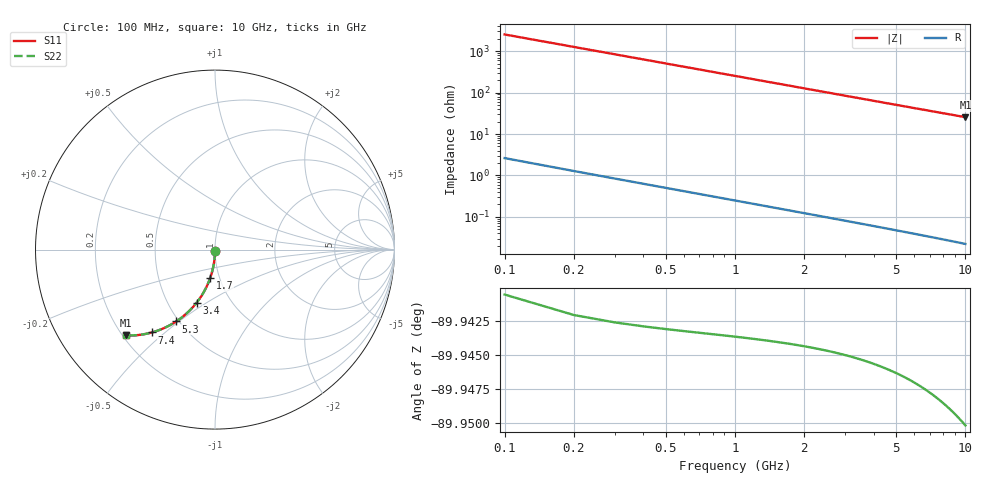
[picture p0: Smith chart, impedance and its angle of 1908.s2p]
# Hz S RI R 50.00
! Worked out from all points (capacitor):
!   100 points, 100 MHz to 10 GHz, reference 50 ohm
!   read as one part in shunt: C = 629 fF near 100 MHz
!   lowest |Z| = 25.6 ohm at 10 GHz (marker M1)
!   S11 on the Smith chart (normalised r, x): 100 MHz: 1.00, -0.02; 1.7 GHz: 0.90, -0.30; 3.4 GHz: 0.69, -0.45; 5.3 GHz: 0.48, -0.49; 7.4 GHz: 0.33, -0.45; 10 GHz: 0.21, -0.39
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1e8  2.5e-05 -0.00967  0.9998 -0.0101  0.9998 -0.0101  2.5e-05 -0.00967
2e8  -0.000277 -0.0193  0.9995 -0.0202  0.9995 -0.0202  -0.000277 -0.0193
3e8  -0.000773 -0.029  0.999 -0.0302  0.999 -0.0302  -0.000773 -0.029
4e8  -0.00146 -0.0386  0.9983 -0.0403  0.9983 -0.0403  -0.00146 -0.0386
5e8  -0.00235 -0.0483  0.9974 -0.0503  0.9974 -0.0503  -0.00235 -0.0483
6e8  -0.00343 -0.0578  0.9963 -0.0603  0.9963 -0.0603  -0.00343 -0.0578
8e8  -0.00615 -0.0769  0.9936 -0.0802  0.9936 -0.0802  -0.00615 -0.0769
1.1e9  -0.0116 -0.1052  0.9881 -0.1097  0.9881 -0.1097  -0.0116 -0.1052
1.4e9  -0.0188 -0.1329  0.9809 -0.1387  0.9809 -0.1387  -0.0188 -0.1329
1.7e9  -0.0275 -0.1599  0.9722 -0.167  0.9722 -0.167  -0.0275 -0.1599
1.8e9  -0.0307 -0.1687  0.969 -0.1762  0.969 -0.1762  -0.0307 -0.1687
2.1e9  -0.0414 -0.1946  0.9583 -0.2034  0.9583 -0.2034  -0.0414 -0.1946
2.5e9  -0.0577 -0.2277  0.942 -0.2381  0.942 -0.2381  -0.0577 -0.2277
2.9e9  -0.0761 -0.2589  0.9235 -0.271  0.9235 -0.271  -0.0761 -0.2589
3.4e9  -0.1018 -0.295  0.8978 -0.3092  0.8978 -0.3092  -0.1018 -0.295
4.2e9  -0.1475 -0.3456  0.852 -0.3631  0.852 -0.3631  -0.1475 -0.3456
5.1e9  -0.2035 -0.3916  0.796 -0.413  0.796 -0.413  -0.2035 -0.3916
5.3e9  -0.2163 -0.4003  0.7831 -0.4225  0.7831 -0.4225  -0.2163 -0.4003
6.7e9  -0.3067 -0.4467  0.6926 -0.4748  0.6926 -0.4748  -0.3067 -0.4467
7.4e9  -0.3508 -0.4613  0.6484 -0.4924  0.6484 -0.4924  -0.3508 -0.4613
8.4e9  -0.411 -0.4739  0.588 -0.5093  0.588 -0.5093  -0.411 -0.4739
1e10  -0.4984 -0.4783  0.5004 -0.5206  0.5004 -0.5206  -0.4984 -0.4783
